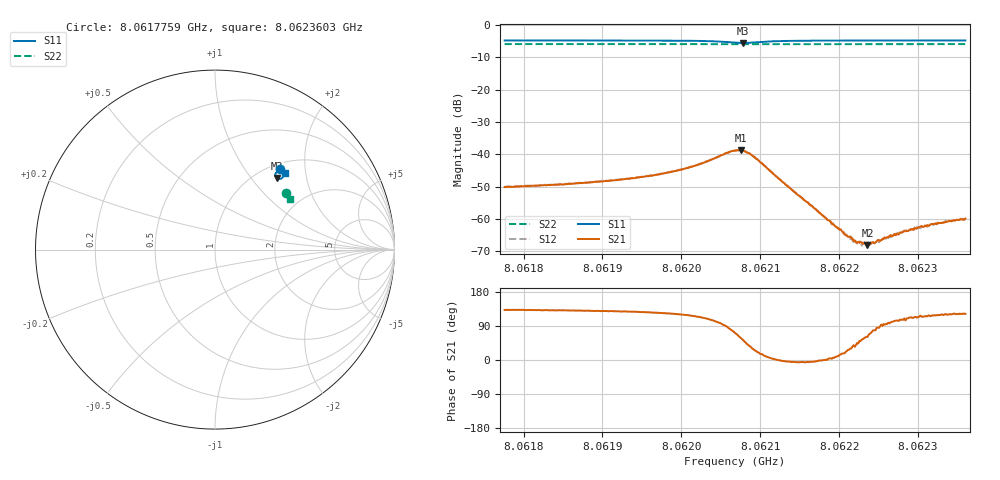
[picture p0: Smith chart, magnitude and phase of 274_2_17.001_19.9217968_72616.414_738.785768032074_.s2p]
#  HZ  S  RI  R  50.00
! Rohde & Schwarz Vector Network Analyzer
! Rohde-Schwarz,ZNB20-2Port,1311601062101988,3.16
! Created: UTC 3/20/2024, 11:04:19 PM
! freq[Hz]  re:S11  im:S11  re:S21  im:S21  re:S12  im:S12  re:S22  im:S22
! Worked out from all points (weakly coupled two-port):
!   401 points, 8.0617759 GHz to 8.0623603 GHz, reference 50 ohm
!   highest |S21| = -38.70 dB at 8.0620754 GHz (marker M1); lowest = -68.2 dB at 8.0622361 GHz (marker M2)
!   lowest |S11| = -5.6 dB at 8.0620783 GHz (marker M3), VSWR 3.23, Z = 61.2 + j67.7 ohm
!   |S11| at or under -10 dB: nowhere
!   |S22| runs from -6.0 to -5.9 dB; largest |S21 - S12| = 0.00092
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8.06177586e9  0.3627 0.4474  -0.00209 0.00232  -0.00195 0.00242  0.3983 0.3126
8.06187375e9  0.3697 0.4411  -0.00232 0.00273  -0.00219 0.00291  0.4019 0.3077
8.06192197e9  0.3735 0.4372  -0.00249 0.00317  -0.00236 0.00336  0.4037 0.3051
8.06197164e9  0.3779 0.4314  -0.00276 0.00404  -0.00255 0.00422  0.4054 0.3026
8.06201694e9  0.3818 0.4207  -0.00287 0.006  -0.00255 0.00619  0.4069 0.2999
8.06206807e9  0.3589 0.3933  0.00364 0.0108  0.00427 0.0106  0.4072 0.2966
8.06207538e9  0.3475 0.3964  0.00609 0.00989  0.0068 0.0095  0.407 0.2965
8.0620783e9  0.3437 0.3994  0.00681 0.00893  0.00758 0.00858  0.4069 0.2966
8.06208707e9  0.3367 0.4117  0.00821 0.00601  0.00867 0.00539  0.4072 0.2969
8.06209437e9  0.3368 0.4217  0.00782 0.00354  0.0082 0.00305  0.4074 0.2969
8.06212944e9  0.3557 0.4392  0.00366 -0.000178  0.00364 -0.000354  0.4098 0.2959
8.06216596e9  0.3671 0.4385  0.00157 -0.000125  0.00159 -0.000243  0.4114 0.2939
8.06220833e9  0.3739 0.4358  0.000525 0.000199  0.000561 0.000167  0.4133 0.2914
8.06221564e9  0.3749 0.4352  0.000444 0.000262  0.000451 0.000215  0.4134 0.2912
8.06222148e9  0.3756 0.435  0.000332 0.000278  0.000386 0.000244  0.4136 0.291
8.06223609e9  0.3773 0.4339  0.00019 0.00034  0.000205 0.00032  0.4143 0.2901
8.06224778e9  0.3785 0.4331  3.92e-05 0.000449  9.11e-05 0.000447  0.4145 0.2895
8.06226385e9  0.3799 0.4322  -6.22e-05 0.000531  -5.06e-05 0.000547  0.4152 0.2886
8.062296e9  0.3828 0.4304  -0.000288 0.000664  -0.000237 0.000703  0.4164 0.287
8.06231937e9  0.3844 0.4289  -0.000379 0.000741  -0.000335 0.00073  0.4171 0.2858
8.06235152e9  0.3867 0.4269  -0.000492 0.000825  -0.000472 0.000853  0.4182 0.2841
8.06236028e9  0.3874 0.4266  -0.000538 0.000863  -0.000465 0.000879  0.4185 0.2836
